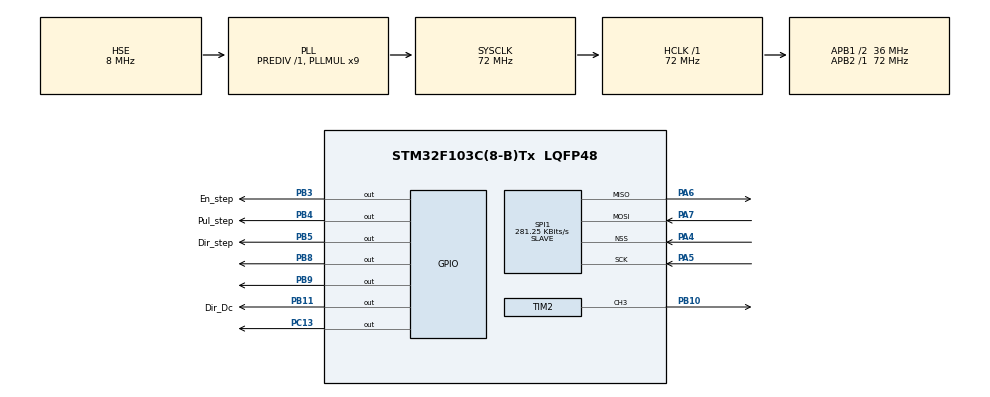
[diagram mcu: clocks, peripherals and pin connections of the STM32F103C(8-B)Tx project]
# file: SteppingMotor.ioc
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Mcu.Family=STM32F1
Mcu.Name=STM32F103C(8-B)Tx
Mcu.Package=LQFP48
NVIC.PriorityGroup=NVIC_PRIORITYGROUP_4
NVIC.SPI1_IRQn=true\:0\:0\:false\:false\:true\:true
PA13.Mode=Serial_Wire
PA13.Signal=SYS_JTMS-SWDIO
PA14.Mode=Serial_Wire
PA14.Signal=SYS_JTCK-SWCLK
PA4.Mode=NSS_Signal_Hard_Input
PA4.Signal=SPI1_NSS
PA5.Mode=Full_Duplex_Slave
PA5.Signal=SPI1_SCK
PA6.Mode=Full_Duplex_Slave
PA6.Signal=SPI1_MISO
PA7.Mode=Full_Duplex_Slave
PA7.Signal=SPI1_MOSI
PB10.Signal=S_TIM2_CH3
PB11.GPIO_Label=Dir_Dc
PB11.Signal=GPIO_Output
PB3.GPIO_Label=En_step
PB3.Signal=GPIO_Output
PB4.GPIO_Label=Pul_step
PB4.Signal=GPIO_Output
PB5.GPIO_Label=Dir_step
PB5.Signal=GPIO_Output
PB8.Signal=GPIO_Output
PB9.Signal=GPIO_Output
PC13-TAMPER-RTC.Signal=GPIO_Output
PD0-OSC_IN.Mode=HSE-External-Oscillator
PD0-OSC_IN.Signal=RCC_OSC_IN
PD1-OSC_OUT.Mode=HSE-External-Oscillator
PD1-OSC_OUT.Signal=RCC_OSC_OUT
ProjectManager.HeapSize=0x200
ProjectManager.StackSize=0x400
ProjectManager.TargetToolchain=MDK-ARM V5
RCC.AHBFreq_Value=72000000
RCC.APB1CLKDivider=RCC_HCLK_DIV2
RCC.APB1Freq_Value=36000000
RCC.APB1TimFreq_Value=72000000
RCC.APB2Freq_Value=72000000
RCC.APB2TimFreq_Value=72000000
RCC.HCLKFreq_Value=72000000
RCC.PLLMUL=RCC_PLL_MUL9
RCC.PLLSourceVirtual=RCC_PLLSOURCE_HSE
RCC.SYSCLKFreq_VALUE=72000000
RCC.SYSCLKSource=RCC_SYSCLKSOURCE_PLLCLK
RCC.USBFreq_Value=72000000
SH.S_TIM2_CH3.0=TIM2_CH3,PWM Generation3 CH3
SPI1.BaudRatePrescaler=SPI_BAUDRATEPRESCALER_256
SPI1.CalculateBaudRate=281.25 KBits/s
SPI1.Direction=SPI_DIRECTION_2LINES
SPI1.Mode=SPI_MODE_SLAVE
SPI1.VirtualNSS=VM_NSSHARD
SPI1.VirtualType=VM_SLAVE
TIM2.Channel-PWM\ Generation3\ CH3=TIM_CHANNEL_3
TIM2.Period=19999
TIM2.Prescaler=72
VP_TIM2_VS_ClockSourceINT.Mode=Internal
board=SteppingMotor

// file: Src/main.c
/**
  ******************************************************************************
  * @file           : main.c
  * @brief          : Main program body
  ******************************************************************************
  ** This notice applies to any and all portions of this file
  * that are not between comment pairs USER CODE BEGIN and
  * USER CODE END. Other portions of this file, whether
  * inserted by the user or by software development tools
  * are owned by their respective copyright owners.
  *
  * COPYRIGHT(c) 2018 STMicroelectronics
  *
  * Redistribution and use in source and binary forms, with or without modification,
  * are permitted provided that the following conditions are met:
  *   1. Redistributions of source code must retain the above copyright notice,
  *      this list of conditions and the following disclaimer.
  *   2. Redistributions in binary form must reproduce the above copyright notice,
  *      this list of conditions and the following disclaimer in the documentation
  *      and/or other materials provided with the distribution.
  *   3. Neither the name of STMicroelectronics nor the names of its contributors
  *      may be used to endorse or promote products derived from this software
  *      without specific prior written permission.
  *
  * THIS SOFTWARE IS PROVIDED BY THE COPYRIGHT HOLDERS AND CONTRIBUTORS "AS IS"
  * AND ANY EXPRESS OR IMPLIED WARRANTIES, INCLUDING, BUT NOT LIMITED TO, THE
  * IMPLIED WARRANTIES OF MERCHANTABILITY AND FITNESS FOR A PARTICULAR PURPOSE ARE
  * DISCLAIMED. IN NO EVENT SHALL THE COPYRIGHT HOLDER OR CONTRIBUTORS BE LIABLE
  * FOR ANY DIRECT, INDIRECT, INCIDENTAL, SPECIAL, EXEMPLARY, OR CONSEQUENTIAL
  * DAMAGES (INCLUDING, BUT NOT LIMITED TO, PROCUREMENT OF SUBSTITUTE GOODS OR
  * SERVICES; LOSS OF USE, DATA, OR PROFITS; OR BUSINESS INTERRUPTION) HOWEVER
  * CAUSED AND ON ANY THEORY OF LIABILITY, WHETHER IN CONTRACT, STRICT LIABILITY,
  * OR TORT (INCLUDING NEGLIGENCE OR OTHERWISE) ARISING IN ANY WAY OUT OF THE USE
  * OF THIS SOFTWARE, EVEN IF ADVISED OF THE POSSIBILITY OF SUCH DAMAGE.
  *
  ******************************************************************************
  */
#include "main.h"
#include "stm32f1xx_hal.h"

/* USER CODE BEGIN Includes */
#include "dwt_stm32_delay.h"
/* USER CODE END Includes */

SPI_HandleTypeDef hspi1;

TIM_HandleTypeDef htim2;

/* USER CODE BEGIN PV */
/* Private variables ---------------------------------------------------------*/
int angle;
float pul;
float gear_ratio ;
uint8_t datalenght = 4;
uint8_t dataRx[4];
uint8_t dataTx[4];
int i = 0;
/* USER CODE END PV */

void SystemClock_Config(void);
static void MX_GPIO_Init(void);
static void MX_TIM2_Init(void);
static void MX_SPI1_Init(void);

void HAL_TIM_MspPostInit(TIM_HandleTypeDef *htim);

/* USER CODE BEGIN PFP */
/* Private function prototypes -----------------------------------------------*/

/* USER CODE END PFP */

int main(void)
{
  /* USER CODE BEGIN 1 */
  dataRx[0] = 0;
	dataRx[1] = 0;
	dataRx[2] = 0;
	dataRx[3] = 0;
	dataTx[0] = 5;
	dataTx[1] = 5;
	dataTx[2] = 5;
	dataTx[3] = 5;
  /* USER CODE END 1 */

  /* MCU Configuration----------------------------------------------------------*/

  /* Reset of all peripherals, Initializes the Flash interface and the Systick. */
  HAL_Init();

  /* USER CODE BEGIN Init */
  DWT_Delay_Init ();

  /* USER CODE END Init */

  /* Configure the system clock */
  SystemClock_Config();

  /* Initialize all configured peripherals */
  MX_GPIO_Init();
  MX_TIM2_Init();
  MX_SPI1_Init();
  /* USER CODE BEGIN 2 */
	HAL_TIM_PWM_Start(&htim2,TIM_CHANNEL_3);
	TIM2->CCR3 = 0 ; /// period 20000
	HAL_SPI_Receive_IT(&hspi1,(uint8_t*)dataRx,datalenght);

  int speed = 2000;

  /* USER CODE END 2 */

  /* Infinite loop */
  while (1)
  {

  /* USER CODE BEGIN 3 */

  #if 0 //Joint6
		TIM2->CCR3 = 600;
		HAL_Delay(2000);
		TIM2->CCR3 = 2100;
		HAL_Delay(2000);

  #endif

	#if 0 /// Joint5
		angle = 100;
		gear_ratio = 22/10;
	 HAL_GPIO_WritePin(Dir_step_GPIO_Port,Dir_step_Pin,GPIO_PIN_SET);
		HAL_GPIO_WritePin(En_step_GPIO_Port,En_step_Pin,GPIO_PIN_RESET);
		pul  = (angle*4*5.18*gear_ratio)/(1.8);
	for(int i = 0;i<=pul ;i++){
		HAL_GPIO_WritePin(Pul_step_GPIO_Port,Pul_step_Pin,GPIO_PIN_RESET);
		DWT_Delay_us(1);
		HAL_GPIO_WritePin(Pul_step_GPIO_Port,Pul_step_Pin,GPIO_PIN_SET);
		DWT_Delay_us(500);
	}
  HAL_Delay(1000);
	HAL_GPIO_WritePin(Dir_step_GPIO_Port,Dir_step_Pin,GPIO_PIN_RESET);
	for(int i = 0;i<=pul ;i++){
		HAL_GPIO_WritePin(Pul_step_GPIO_Port,Pul_step_Pin,GPIO_PIN_RESET);
		DWT_Delay_us(1);
		HAL_GPIO_WritePin(Pul_step_GPIO_Port,Pul_step_Pin,GPIO_PIN_SET);
		DWT_Delay_us(500);
	}
	HAL_GPIO_WritePin(En_step_GPIO_Port,En_step_Pin,GPIO_PIN_SET);
  HAL_Delay(1000);
	#endif

	#if 0 /// Joint4
	angle = 275;
		gear_ratio = 22/12;
	 HAL_GPIO_WritePin(Dir_step_GPIO_Port,Dir_step_Pin,GPIO_PIN_SET);
		HAL_GPIO_WritePin(En_step_GPIO_Port,En_step_Pin,GPIO_PIN_RESET);
		pul  = (angle*8*gear_ratio)/(1.8);
	for(int i = 0;i<=pul ;i++){
		HAL_GPIO_WritePin(Pul_step_GPIO_Port,Pul_step_Pin,GPIO_PIN_RESET);
		DWT_Delay_us(1);
		HAL_GPIO_WritePin(Pul_step_GPIO_Port,Pul_step_Pin,GPIO_PIN_SET);
		DWT_Delay_us(1000);
	}
  HAL_Delay(1000);
	HAL_GPIO_WritePin(Dir_step_GPIO_Port,Dir_step_Pin,GPIO_PIN_RESET);
	for(int i = 0;i<=pul ;i++){
		HAL_GPIO_WritePin(Pul_step_GPIO_Port,Pul_step_Pin,GPIO_PIN_RESET);
		DWT_Delay_us(1);
		HAL_GPIO_WritePin(Pul_step_GPIO_Port,Pul_step_Pin,GPIO_PIN_SET);
		DWT_Delay_us(1000);
	}
	HAL_GPIO_WritePin(En_step_GPIO_Port,En_step_Pin,GPIO_PIN_SET);
  HAL_Delay(1000);
	#endif

	#if 0 /// Joint3
	angle = 10000;
		gear_ratio = 22/10;
	 HAL_GPIO_WritePin(Dir_step_GPIO_Port,Dir_step_Pin,GPIO_PIN_SET);
		HAL_GPIO_WritePin(En_step_GPIO_Port,En_step_Pin,GPIO_PIN_RESET);
		pul  = (angle*4*gear_ratio)/(1.8);
	for(int i = 0;i<=pul ;i++){
		HAL_GPIO_WritePin(Pul_step_GPIO_Port,Pul_step_Pin,GPIO_PIN_RESET);
		DWT_Delay_us(1);
		HAL_GPIO_WritePin(Pul_step_GPIO_Port,Pul_step_Pin,GPIO_PIN_SET);
		DWT_Delay_us(3500);
	}
	HAL_GPIO_WritePin(En_step_GPIO_Port,En_step_Pin,GPIO_PIN_SET);
	HAL_GPIO_WritePin(Pul_step_GPIO_Port,Pul_step_Pin,GPIO_PIN_SET);
  HAL_Delay(1000);
	HAL_GPIO_WritePin(Dir_step_GPIO_Port,Dir_step_Pin,GPIO_PIN_RESET);
	HAL_GPIO_WritePin(En_step_GPIO_Port,En_step_Pin,GPIO_PIN_RESET);
	for(int i = 0;i<=pul ;i++){
		HAL_GPIO_WritePin(Pul_step_GPIO_Port,Pul_step_Pin,GPIO_PIN_RESET);
		DWT_Delay_us(1);
		HAL_GPIO_WritePin(Pul_step_GPIO_Port,Pul_step_Pin,GPIO_PIN_SET);
		DWT_Delay_us(3500);
	}
	HAL_GPIO_WritePin(En_step_GPIO_Port,En_step_Pin,GPIO_PIN_SET);
	HAL_GPIO_WritePin(Pul_step_GPIO_Port,Pul_step_Pin,GPIO_PIN_SET);
  HAL_Delay(1000);
	#endif

	#if 1 /// Joint2
	angle = 10;
		gear_ratio = 20/60;
	 HAL_GPIO_WritePin(Dir_step_GPIO_Port,Dir_step_Pin,GPIO_PIN_RESET);
		HAL_GPIO_WritePin(En_step_GPIO_Port,En_step_Pin,GPIO_PIN_RESET);
		pul  = (angle*2*gear_ratio)/(1.8);
	for(int i = 0;i<=100/3;i++){
		for(int j=0; j<3; j++){
      HAL_GPIO_WritePin(Pul_step_GPIO_Port,Pul_step_Pin,GPIO_PIN_RESET);
      DWT_Delay_us(1);
      HAL_GPIO_WritePin(Pul_step_GPIO_Port,Pul_step_Pin,GPIO_PIN_SET);
      DWT_Delay_us(speed);
    }
    if(speed > 300){
      speed--;
    }
	}
	HAL_GPIO_WritePin(En_step_GPIO_Port,En_step_Pin,GPIO_PIN_SET);
	#endif

	#if 0 //Joint 1
	  HAL_GPIO_WritePin(Dir_Dc_GPIO_Port,Dir_Dc_Pin,GPIO_PIN_SET);
	  TIM2->CCR3 = 4000;
		HAL_Delay(10000);
		HAL_GPIO_WritePin(Dir_Dc_GPIO_Port,Dir_Dc_Pin,GPIO_PIN_RESET);
		HAL_Delay(10000);
	#endif

	}

  /* USER CODE END 3 */

}

void SystemClock_Config(void)
{

  RCC_OscInitTypeDef RCC_OscInitStruct;
  RCC_ClkInitTypeDef RCC_ClkInitStruct;

    /**Initializes the CPU, AHB and APB busses clocks
    */
  RCC_OscInitStruct.OscillatorType = RCC_OSCILLATORTYPE_HSE;
  RCC_OscInitStruct.HSEState = RCC_HSE_ON;
  RCC_OscInitStruct.HSEPredivValue = RCC_HSE_PREDIV_DIV1;
  RCC_OscInitStruct.HSIState = RCC_HSI_ON;
  RCC_OscInitStruct.PLL.PLLState = RCC_PLL_ON;
  RCC_OscInitStruct.PLL.PLLSource = RCC_PLLSOURCE_HSE;
  RCC_OscInitStruct.PLL.PLLMUL = RCC_PLL_MUL9;
  if (HAL_RCC_OscConfig(&RCC_OscInitStruct) != HAL_OK)
  {
    _Error_Handler(__FILE__, __LINE__);
  }

    /**Initializes the CPU, AHB and APB busses clocks
    */
  RCC_ClkInitStruct.ClockType = RCC_CLOCKTYPE_HCLK|RCC_CLOCKTYPE_SYSCLK
                              |RCC_CLOCKTYPE_PCLK1|RCC_CLOCKTYPE_PCLK2;
  RCC_ClkInitStruct.SYSCLKSource = RCC_SYSCLKSOURCE_PLLCLK;
  RCC_ClkInitStruct.AHBCLKDivider = RCC_SYSCLK_DIV1;
  RCC_ClkInitStruct.APB1CLKDivider = RCC_HCLK_DIV2;
  RCC_ClkInitStruct.APB2CLKDivider = RCC_HCLK_DIV1;

  if (HAL_RCC_ClockConfig(&RCC_ClkInitStruct, FLASH_LATENCY_2) != HAL_OK)
  {
    _Error_Handler(__FILE__, __LINE__);
  }

    /**Configure the Systick interrupt time
    */
  HAL_SYSTICK_Config(HAL_RCC_GetHCLKFreq()/1000);

    /**Configure the Systick
    */
  HAL_SYSTICK_CLKSourceConfig(SYSTICK_CLKSOURCE_HCLK);

  /* SysTick_IRQn interrupt configuration */
  HAL_NVIC_SetPriority(SysTick_IRQn, 0, 0);
}

/* SPI1 init function */
static void MX_SPI1_Init(void)
{

  /* SPI1 parameter configuration*/
  hspi1.Instance = SPI1;
  hspi1.Init.Mode = SPI_MODE_SLAVE;
  hspi1.Init.Direction = SPI_DIRECTION_2LINES;
  hspi1.Init.DataSize = SPI_DATASIZE_8BIT;
  hspi1.Init.CLKPolarity = SPI_POLARITY_LOW;
  hspi1.Init.CLKPhase = SPI_PHASE_1EDGE;
  hspi1.Init.NSS = SPI_NSS_HARD_INPUT;
  hspi1.Init.BaudRatePrescaler = SPI_BAUDRATEPRESCALER_256;
  hspi1.Init.FirstBit = SPI_FIRSTBIT_MSB;
  hspi1.Init.TIMode = SPI_TIMODE_DISABLE;
  hspi1.Init.CRCCalculation = SPI_CRCCALCULATION_DISABLE;
  hspi1.Init.CRCPolynomial = 10;
  if (HAL_SPI_Init(&hspi1) != HAL_OK)
  {
    _Error_Handler(__FILE__, __LINE__);
  }

}

/* TIM2 init function */
static void MX_TIM2_Init(void)
{

  TIM_ClockConfigTypeDef sClockSourceConfig;
  TIM_MasterConfigTypeDef sMasterConfig;
  TIM_OC_InitTypeDef sConfigOC;

  htim2.Instance = TIM2;
  htim2.Init.Prescaler = 72;
  htim2.Init.CounterMode = TIM_COUNTERMODE_UP;
  htim2.Init.Period = 19999;
  htim2.Init.ClockDivision = TIM_CLOCKDIVISION_DIV1;
  htim2.Init.AutoReloadPreload = TIM_AUTORELOAD_PRELOAD_DISABLE;
  if (HAL_TIM_Base_Init(&htim2) != HAL_OK)
  {
    _Error_Handler(__FILE__, __LINE__);
  }

  sClockSourceConfig.ClockSource = TIM_CLOCKSOURCE_INTERNAL;
  if (HAL_TIM_ConfigClockSource(&htim2, &sClockSourceConfig) != HAL_OK)
  {
    _Error_Handler(__FILE__, __LINE__);
  }

  if (HAL_TIM_PWM_Init(&htim2) != HAL_OK)
  {
    _Error_Handler(__FILE__, __LINE__);
  }

  sMasterConfig.MasterOutputTrigger = TIM_TRGO_RESET;
  sMasterConfig.MasterSlaveMode = TIM_MASTERSLAVEMODE_DISABLE;
  if (HAL_TIMEx_MasterConfigSynchronization(&htim2, &sMasterConfig) != HAL_OK)
  {
    _Error_Handler(__FILE__, __LINE__);
  }

  sConfigOC.OCMode = TIM_OCMODE_PWM1;
  sConfigOC.Pulse = 0;
  sConfigOC.OCPolarity = TIM_OCPOLARITY_HIGH;
  sConfigOC.OCFastMode = TIM_OCFAST_DISABLE;
  if (HAL_TIM_PWM_ConfigChannel(&htim2, &sConfigOC, TIM_CHANNEL_3) != HAL_OK)
  {
    _Error_Handler(__FILE__, __LINE__);
  }

  HAL_TIM_MspPostInit(&htim2);

}

/** Configure pins as
        * Analog
        * Input
        * Output
        * EVENT_OUT
        * EXTI
*/
static void MX_GPIO_Init(void)
{

  GPIO_InitTypeDef GPIO_InitStruct;

  /* GPIO Ports Clock Enable */
  __HAL_RCC_GPIOC_CLK_ENABLE();
  __HAL_RCC_GPIOD_CLK_ENABLE();
  __HAL_RCC_GPIOA_CLK_ENABLE();
  __HAL_RCC_GPIOB_CLK_ENABLE();

  /*Configure GPIO pin Output Level */
  HAL_GPIO_WritePin(GPIOC, GPIO_PIN_13, GPIO_PIN_RESET);

  /*Configure GPIO pin Output Level */
  HAL_GPIO_WritePin(GPIOB, Dir_Dc_Pin|En_step_Pin|Pul_step_Pin|Dir_step_Pin
                          |GPIO_PIN_8|GPIO_PIN_9, GPIO_PIN_RESET);

  /*Configure GPIO pin : PC13 */
  GPIO_InitStruct.Pin = GPIO_PIN_13;
  GPIO_InitStruct.Mode = GPIO_MODE_OUTPUT_PP;
  GPIO_InitStruct.Speed = GPIO_SPEED_FREQ_LOW;
  HAL_GPIO_Init(GPIOC, &GPIO_InitStruct);

  /*Configure GPIO pins : Dir_Dc_Pin En_step_Pin Pul_step_Pin Dir_step_Pin
                           PB8 PB9 */
  GPIO_InitStruct.Pin = Dir_Dc_Pin|En_step_Pin|Pul_step_Pin|Dir_step_Pin
                          |GPIO_PIN_8|GPIO_PIN_9;
  GPIO_InitStruct.Mode = GPIO_MODE_OUTPUT_PP;
  GPIO_InitStruct.Speed = GPIO_SPEED_FREQ_LOW;
  HAL_GPIO_Init(GPIOB, &GPIO_InitStruct);

}

/* USER CODE BEGIN 4 */
void HAL_SPI_RxCpltCallback(SPI_HandleTypeDef *hspi)
{
	if(hspi->Instance == hspi1.Instance){
		HAL_SPI_Receive_IT(&hspi1,dataRx,datalenght);
		HAL_SPI_Transmit_IT(&hspi1,dataTx,datalenght);
	}
}

void SendPackageSPI (SPI_HandleTypeDef *hspi, uint8_t *package,uint8_t lenght_data){
	    HAL_SPI_Transmit(hspi,(uint8_t*)package,lenght_data,100);
	    while(HAL_SPI_GetState(hspi) != HAL_SPI_STATE_READY);
}
/* USER CODE END 4 */

void _Error_Handler(char *file, int line)
{
  while(1)
  {
  }
}

/************************ (C) COPYRIGHT STMicroelectronics *****END OF FILE****/
